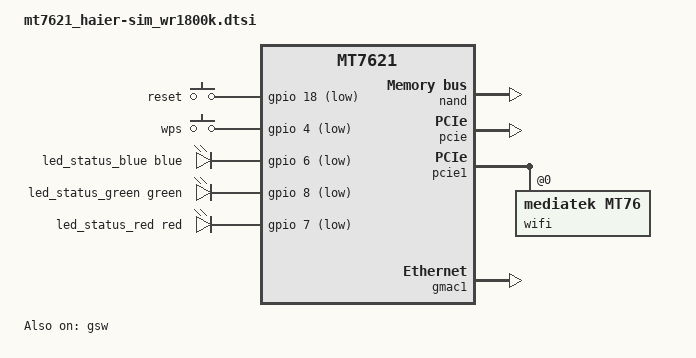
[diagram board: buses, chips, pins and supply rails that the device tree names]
// SPDX-License-Identifier: GPL-2.0-or-later OR MIT

#include "mt7621.dtsi"

#include <dt-bindings/gpio/gpio.h>
#include <dt-bindings/input/input.h>
#include <dt-bindings/leds/common.h>

/ {
	aliases {
		label-mac-device = &gmac1;
		led-boot = &led_status_red;
		led-failsafe = &led_status_blue;
		led-running = &led_status_green;
		led-upgrade = &led_status_blue;
	};

	chosen {
		bootargs = "console=ttyS0,115200";
		bootargs-override = "console=ttyS0,115200";
	};

	keys {
		compatible = "gpio-keys";

		reset {
			label = "reset";
			gpios = <&gpio 18 GPIO_ACTIVE_LOW>;
			linux,code = <KEY_RESTART>;
		};

		wps {
			label = "wps";
			gpios = <&gpio 4 GPIO_ACTIVE_LOW>;
			linux,code = <KEY_WPS_BUTTON>;
		};
	};

	leds {
		compatible = "gpio-leds";

		led_status_blue: led-0 {
			color = <LED_COLOR_ID_BLUE>;
			function = LED_FUNCTION_STATUS;
			gpios = <&gpio 6 GPIO_ACTIVE_LOW>;
		};

		led_status_green: led-1 {
			color = <LED_COLOR_ID_GREEN>;
			function = LED_FUNCTION_STATUS;
			gpios = <&gpio 8 GPIO_ACTIVE_LOW>;
		};

		led_status_red: led-2 {
			color = <LED_COLOR_ID_RED>;
			function = LED_FUNCTION_STATUS;
			gpios = <&gpio 7 GPIO_ACTIVE_LOW>;
		};
	};
};

&nand {
	status = "okay";

	partitions {
		compatible = "fixed-partitions";
		#address-cells = <1>;
		#size-cells = <1>;

		partition@0 {
			label = "u-boot";
			reg = <0x0000000 0x0080000>;
			read-only;
		};

		partition@80000 {
			label = "u-boot-env";
			reg = <0x0080000 0x0080000>;
		};

		partition@100000 {
			label = "factory";
			reg = <0x0100000 0x0080000>;
			read-only;
			};
		};

		partition@180000 {
			label = "firmware";
			reg = <0x0180000 0x7a80000>;

			compatible = "fixed-partitions";
			#address-cells = <1>;
			#size-cells = <1>;

			partition@0 {
				label = "kernel";
				reg = <0x0000000 0x0400000>;
			};

			partition@400000 {
				label = "ubi";
				reg = <0x0400000 0x7680000>;
			};
		};

		/* last 128KiB *32 is reserved for bad blocks management */
	};
};

&pcie {
	status = "okay";
};

&pcie1 {
	wifi@0,0 {
		compatible = "mediatek,mt76";
		reg = <0x0000 0 0 0 0>;
		mediatek,mtd-eeprom = <&factory 0x0>;
		mediatek,disable-radar-background;
	};
};

&gmac0 {
	mtd-mac-address = <&factory 0x8004 0x6>;
};

&gmac1 {
	mtd-mac-address = <&factory 0x8004 0x3>;
	status = "okay";
};

&gsw {
	mediatek,portmap = "llllw";
	status = "okay";
};

&hnat {
	mtketh-wan = "eth1";
	mtketh-ppd = "eth0";
	mtketh-lan = "eth0";
	mtketh-max-gmac = <2>;
	/delete-property/ mtkdsa-wan-port;
};

&state_default {
	gpio {
		groups = "i2c", "uart3", "wdt";
		function = "gpio";
	};
};

&switch0 {
	status = "disabled";
};

&xhci {
	status = "disabled";
};
